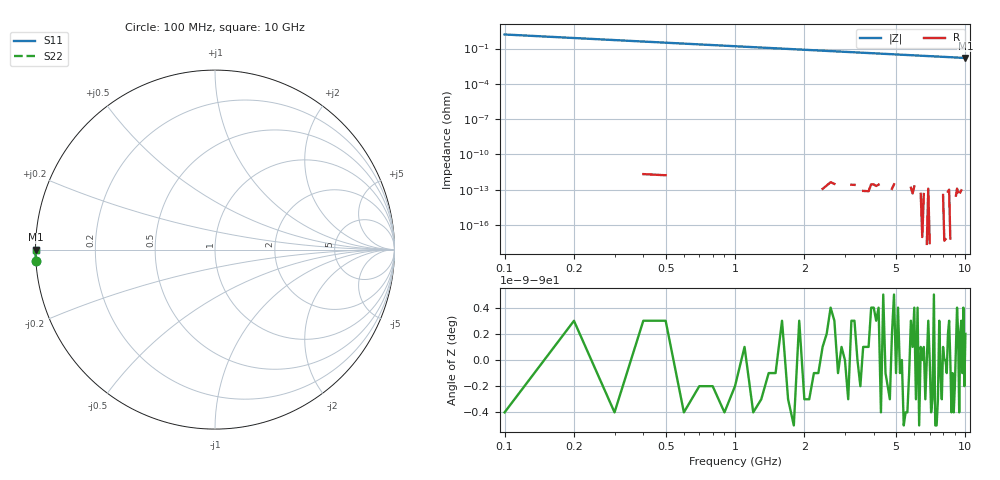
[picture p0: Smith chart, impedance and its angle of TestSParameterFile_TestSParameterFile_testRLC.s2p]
# MHz MA S R 50.0
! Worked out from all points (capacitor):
!   100 points, 100 MHz to 10 GHz, reference 50 ohm
!   read as one part in shunt: C = 1 nF near 100 MHz
!   lowest |Z| = 15.9 mohm at 10 GHz (marker M1)
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100  0.998 -176.4  0.06353 -86.4  0.06353 -86.4  0.998 -176.4
200  0.9995 -178.2  0.03181 -88.2  0.03181 -88.2  0.9995 -178.2
300  0.9998 -178.8  0.02122 -88.8  0.02122 -88.8  0.9998 -178.8
400  0.9999 -179.1  0.01591 -89.1  0.01591 -89.1  0.9999 -179.1
500  0.9999 -179.3  0.01273 -89.3  0.01273 -89.3  0.9999 -179.3
600  0.9999 -179.4  0.01061 -89.4  0.01061 -89.4  0.9999 -179.4
700  1 -179.5  0.009094 -89.5  0.009094 -89.5  1 -179.5
800  1 -179.5  0.007957 -89.5  0.007957 -89.5  1 -179.5
900  1 -179.6  0.007073 -89.6  0.007073 -89.6  1 -179.6
1100  1 -179.7  0.005787 -89.7  0.005787 -89.7  1 -179.7
1400  1 -179.7  0.004547 -89.7  0.004547 -89.7  1 -179.7
1800  1 -179.8  0.003537 -89.8  0.003537 -89.8  1 -179.8
2100  1 -179.8  0.003032 -89.8  0.003032 -89.8  1 -179.8
2500  1 -179.9  0.002546 -89.9  0.002546 -89.9  1 -179.9
2900  1 -179.9  0.002195 -89.9  0.002195 -89.9  1 -179.9
3400  1 -179.9  0.001872 -89.9  0.001872 -89.9  1 -179.9
4200  1 -179.9  0.001516 -89.9  0.001516 -89.9  1 -179.9
5100  1 -179.9  0.001248 -89.9  0.001248 -89.9  1 -179.9
5900  1 -179.9  0.001079 -89.9  0.001079 -89.9  1 -179.9
6700  1 -179.9  0.0009502 -89.9  0.0009502 -89.9  1 -179.9
8400  1 -180.0  0.0007579 -90.0  0.0007579 -90.0  1 -180.0
10000  1 -180.0  0.0006366 -90.0  0.0006366 -90.0  1 -180.0
